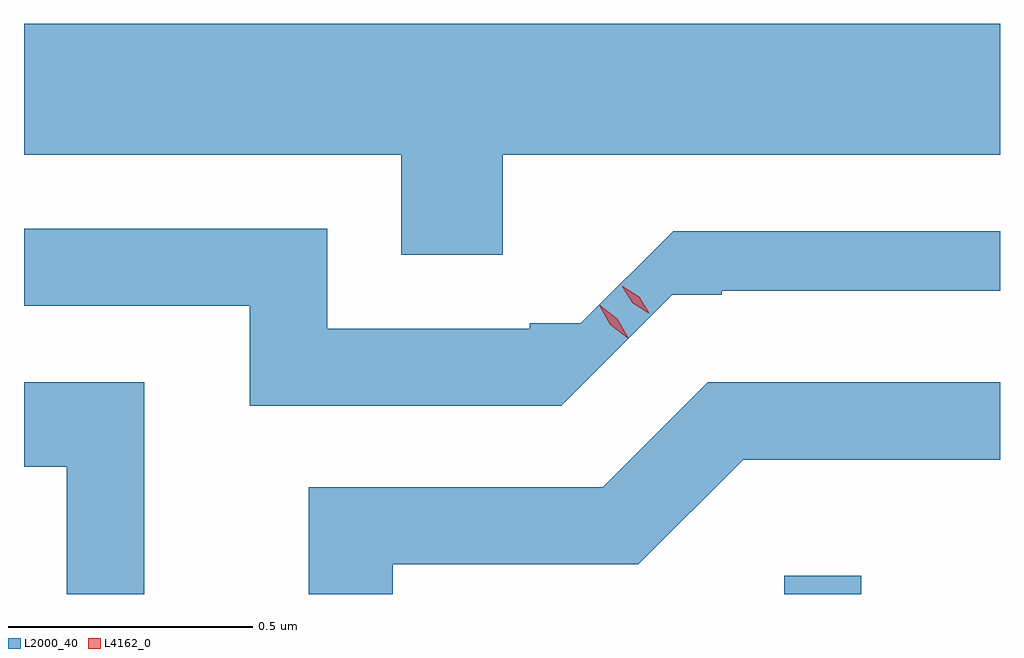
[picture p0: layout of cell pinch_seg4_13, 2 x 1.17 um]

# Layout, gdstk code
import gdstk
lib = gdstk.Library(unit=1e-6, precision=1e-09)
def R(c, l, rs):  # rectangles x0, y0, x1, y1
    for r in rs: c.add(gdstk.rectangle(r[:2], r[2:], *l))
def P(c, l, *ps):  # polygons
    for p in ps: c.add(gdstk.Polygon(p, *l))
L2000_40 = (2000, 40)
L4162_0 = (4162, 0)

pinch_seg4_13 = lib.new_cell('pinch_seg4_13')
R(pinch_seg4_13, L2000_40, [(860.586,1316.035,860.744,1316.073)])
P(pinch_seg4_13, L2000_40, [(860.009,1316.936),(861.028,1316.936),(861.028,1317.204),(859.028,1317.204),(859.028,1316.936),(859.801,1316.936),(859.801,1316.731),(860.009,1316.731)],
  [(860.356,1316.649),(860.458,1316.649),(860.458,1316.657),(861.028,1316.657),(861.028,1316.779),(860.358,1316.779),(860.169,1316.59),(860.064,1316.59),(860.064,1316.579),(859.649,1316.579),(859.649,1316.784),(859.028,1316.784),(859.028,1316.626),(859.491,1316.626),(859.491,1316.421),(860.129,1316.421)],
  [(859.784,1316.096),(860.287,1316.096),(860.502,1316.311),(861.028,1316.311),(861.028,1316.469),(860.429,1316.469),(860.214,1316.254),(859.611,1316.254),(859.611,1316.035),(859.784,1316.035)],
  [(859.274,1316.469),(859.028,1316.469),(859.028,1316.296),(859.116,1316.296),(859.116,1316.035),(859.274,1316.035)])
P(pinch_seg4_13, L4162_0, [(860.308,1316.611),(860.275,1316.631),(860.254,1316.665),(860.254,1316.666),(860.255,1316.666),(860.289,1316.645),(860.309,1316.611),(860.309,1316.611)],
  [(860.265,1316.56),(860.229,1316.587),(860.207,1316.627),(860.207,1316.628),(860.207,1316.628),(860.244,1316.6),(860.266,1316.561),(860.266,1316.56)])

lib.write_gds('pinch_seg4_13.gds')
